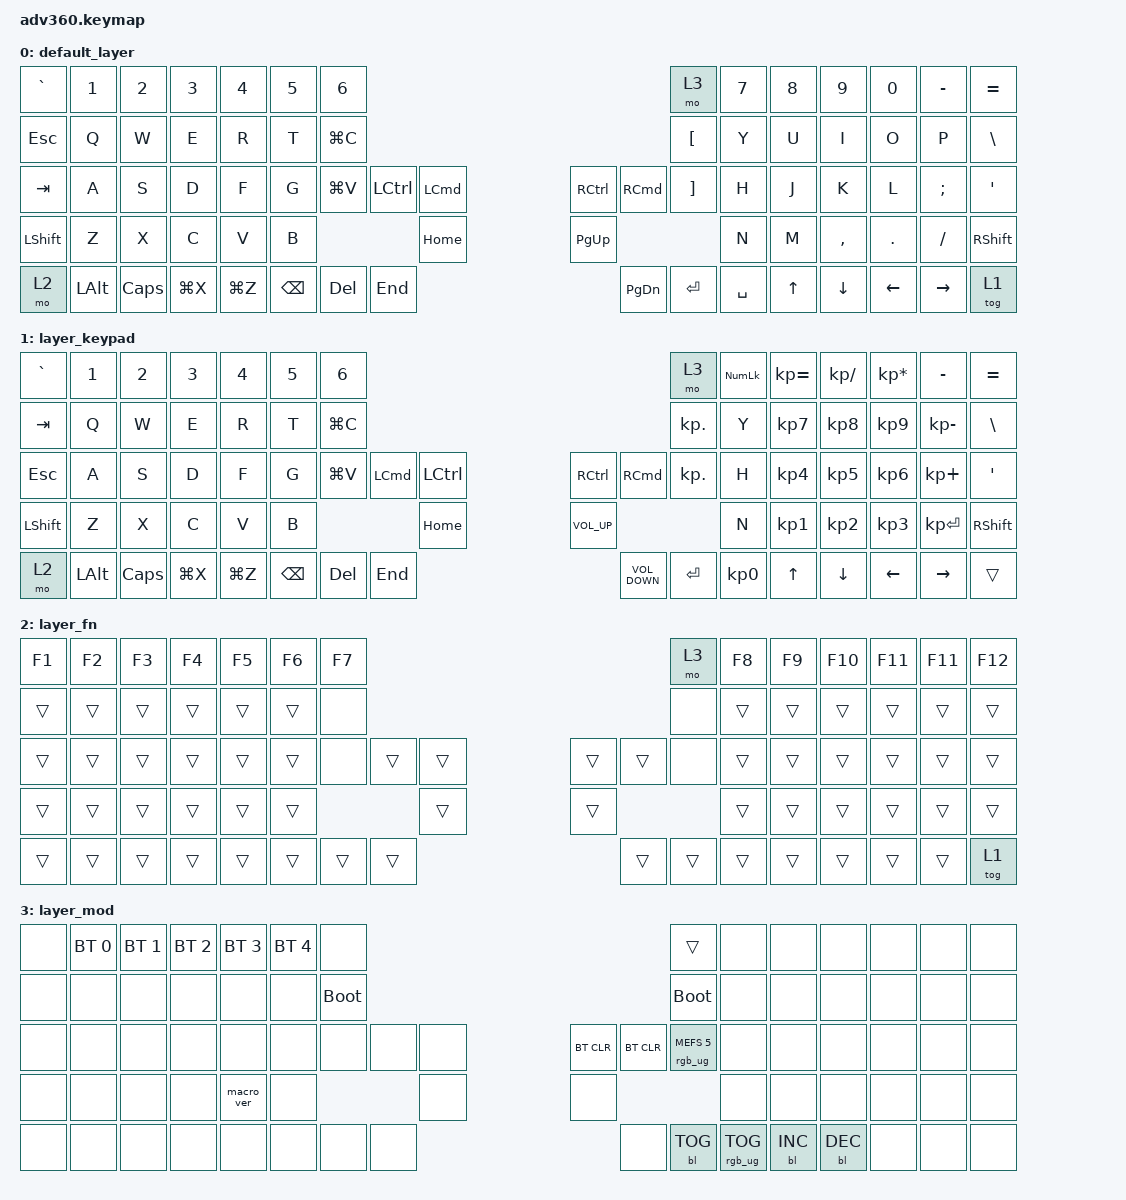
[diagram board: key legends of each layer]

/*
 * Copyright (c) 2020 The ZMK Contributors
 *
 * SPDX-License-Identifier: MIT
 */


/* THIS FILE WAS GENERATED!
 *
 * This file was generated automatically. You may or may not want to
 * edit it directly.
 */

#include <behaviors.dtsi>
#include <dt-bindings/zmk/keys.h>
#include <dt-bindings/zmk/bt.h>
#include <dt-bindings/zmk/rgb.h>
#include <dt-bindings/zmk/backlight.h>

/ {
  behaviors {
    #include "macros.dtsi"
    #include "version.dtsi"

    hm: homerow_mods {
        compatible = "zmk,behavior-hold-tap";
        label = "HOMEROW_MODS";
        #binding-cells = <2>;
        tapping-term-ms = <200>;
        quick_tap_ms = <175>;
        flavor = "tap-preferred";
        bindings = <&kp>, <&kp>;
    };
  };

    keymap {
        compatible = "zmk,keymap";


        default_layer {
            bindings = <
 &kp GRAVE    &kp N1    &kp N2     &kp N3     &kp N4  &kp N5               &kp N6                                                                 &mo 3  &kp N7  &kp N8     &kp N9    &kp N0  &kp MINUS  &kp EQUAL
   &kp ESC     &kp Q     &kp W      &kp E      &kp R   &kp T            &kp LG(C)                                                              &kp LBKT   &kp Y   &kp U      &kp I     &kp O      &kp P   &kp BSLH
   &kp TAB     &kp A     &kp S      &kp D      &kp F   &kp G            &kp LG(V)  &kp LCTRL  &kp LCMD                  &kp RCTRL   &kp RCMD   &kp RBKT   &kp H   &kp J      &kp K     &kp L   &kp SEMI    &kp SQT
 &kp LSHFT     &kp Z     &kp X      &kp C      &kp V   &kp B                                  &kp HOME                  &kp PG_UP                         &kp N   &kp M  &kp COMMA   &kp DOT   &kp FSLH  &kp RSHFT
     &mo 2  &kp LALT  &kp CAPS  &kp LG(X)  &kp LG(Z)                     &kp BSPC    &kp DEL   &kp END                  &kp PG_DN  &kp ENTER  &kp SPACE          &kp UP   &kp DOWN  &kp LEFT  &kp RIGHT     &tog 1
            >;
        };

        layer_keypad {
            bindings = <
 &kp GRAVE    &kp N1    &kp N2     &kp N3     &kp N4  &kp N5               &kp N6                                                                                          &mo 3  &kp KP_NUM  &kp KP_EQUAL  &kp KP_SLASH  &kp KP_MULTIPLY     &kp MINUS  &kp EQUAL
   &kp TAB     &kp Q     &kp W      &kp E      &kp R   &kp T            &kp LG(C)                                                                                     &kp KP_DOT       &kp Y     &kp KP_N7     &kp KP_N8        &kp KP_N9  &kp KP_MINUS   &kp BSLH
   &kp ESC     &kp A     &kp S      &kp D      &kp F   &kp G            &kp LG(V)  &kp LEFT_COMMAND  &kp LCTRL                          &kp RCTRL  &kp RIGHT_COMMAND  &kp KP_DOT       &kp H     &kp KP_N4     &kp KP_N5        &kp KP_N6   &kp KP_PLUS    &kp SQT
 &kp LSHFT     &kp Z     &kp X      &kp C      &kp V   &kp B                                          &kp HOME                    &kp C_VOLUME_UP                                      &kp N     &kp KP_N1     &kp KP_N2        &kp KP_N3  &kp KP_ENTER  &kp RSHFT
     &mo 2  &kp LALT  &kp CAPS  &kp LG(X)  &kp LG(Z)                     &kp BSPC           &kp DEL    &kp END                  &kp C_VOLUME_DOWN          &kp ENTER   &kp KP_N0                    &kp UP      &kp DOWN         &kp LEFT     &kp RIGHT     &trans
            >;
        };

        layer_fn {
            bindings = <
 &kp F1  &kp F2  &kp F3  &kp F4  &kp F5  &kp F6            &kp F7                                                   &mo 3  &kp F8  &kp F9  &kp F10  &kp F11  &kp F11  &kp F12
 &trans  &trans  &trans  &trans  &trans  &trans             &none                                                   &none  &trans  &trans   &trans   &trans   &trans   &trans
 &trans  &trans  &trans  &trans  &trans  &trans             &none  &trans  &trans                  &trans  &trans   &none  &trans  &trans   &trans   &trans   &trans   &trans
 &trans  &trans  &trans  &trans  &trans  &trans                            &trans                  &trans                  &trans  &trans   &trans   &trans   &trans   &trans
 &trans  &trans  &trans  &trans  &trans                    &trans  &trans  &trans                  &trans  &trans  &trans          &trans   &trans   &trans   &trans   &tog 1
            >;
        };

        layer_mod {
            bindings = <
  &none  &bt BT_SEL 0  &bt BT_SEL 1  &bt BT_SEL 2  &bt BT_SEL 3  &bt BT_SEL 4                  &none                                                                          &trans   &none       &none       &none   &none   &none   &none
  &none         &none         &none         &none         &none         &none            &bootloader                                                                     &bootloader   &none       &none       &none   &none   &none   &none
  &none         &none         &none         &none         &none         &none                  &none   &none   &none                  &bt BT_CLR  &bt BT_CLR  &rgb_ug RGB_MEFS_CMD 5   &none       &none       &none   &none   &none   &none
  &none         &none         &none         &none    &macro_ver         &none                                  &none                       &none                                       &none       &none       &none   &none   &none   &none
  &none         &none         &none         &none         &none                                &none   &none   &none                       &none  &bl BL_TOG         &rgb_ug RGB_TOG          &bl BL_INC  &bl BL_DEC   &none   &none   &none
            >;
        };

    };
};
